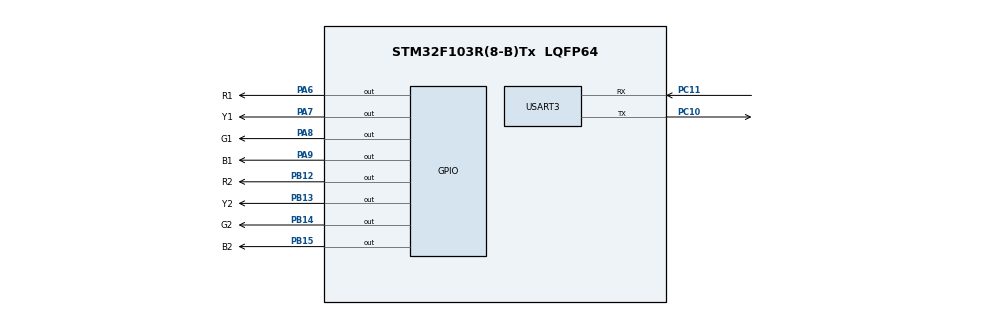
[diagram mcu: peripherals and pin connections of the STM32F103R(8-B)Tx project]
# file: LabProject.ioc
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FREERTOS.Queues01=Command_Queue,1,uint16_t,0,Dynamic,NULL,NULL;Message_Queue,1,uint16_t,0,Dynamic,NULL,NULL
FREERTOS.Tasks01=StateController,32,128,StartStateController,Default,NULL,Dynamic,NULL,NULL;RX_CLI,24,128,StartRX_CLI,Default,NULL,Dynamic,NULL,NULL;StatusUpdate,24,128,StartStatusUpdate,Default,NULL,Dynamic,NULL,NULL
Mcu.Family=STM32F1
Mcu.Name=STM32F103R(8-B)Tx
Mcu.Package=LQFP64
NVIC.PriorityGroup=NVIC_PRIORITYGROUP_4
NVIC.TIM4_IRQn=true\:0\:0\:false\:false\:true\:false\:false\:true
NVIC.TimeBase=TIM4_IRQn
NVIC.TimeBaseIP=TIM4
PA13.Mode=Serial_Wire
PA13.Signal=SYS_JTMS-SWDIO
PA14.Mode=Serial_Wire
PA14.Signal=SYS_JTCK-SWCLK
PA6.GPIO_Label=R1
PA6.PinState=GPIO_PIN_SET
PA6.Signal=GPIO_Output
PA7.GPIO_Label=Y1
PA7.PinState=GPIO_PIN_SET
PA7.Signal=GPIO_Output
PA8.GPIO_Label=G1
PA8.PinState=GPIO_PIN_SET
PA8.Signal=GPIO_Output
PA9.GPIO_Label=B1
PA9.PinState=GPIO_PIN_SET
PA9.Signal=GPIO_Output
PB12.GPIO_Label=R2
PB12.PinState=GPIO_PIN_SET
PB12.Signal=GPIO_Output
PB13.GPIO_Label=Y2
PB13.PinState=GPIO_PIN_SET
PB13.Signal=GPIO_Output
PB14.GPIO_Label=G2
PB14.PinState=GPIO_PIN_SET
PB14.Signal=GPIO_Output
PB15.GPIO_Label=B2
PB15.PinState=GPIO_PIN_SET
PB15.Signal=GPIO_Output
PC10.Mode=Asynchronous
PC10.Signal=USART3_TX
PC11.Mode=Asynchronous
PC11.Signal=USART3_RX
ProjectManager.HeapSize=0x200
ProjectManager.StackSize=0x400
ProjectManager.TargetToolchain=STM32CubeIDE
RCC.APB1Freq_Value=8000000
RCC.APB2Freq_Value=8000000
USART3.VirtualMode=VM_ASYNC
VP_FREERTOS_VS_CMSIS_V2.Mode=CMSIS_V2
VP_SYS_VS_tim4.Mode=TIM4
board=custom

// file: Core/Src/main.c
/* USER CODE BEGIN Header */
/**
  ******************************************************************************
  * @file           : main.c
  * @brief          : Main program body
  ******************************************************************************
  * @attention
  *
  * <h2><center>&copy; Copyright (c) 2020 STMicroelectronics.
  * All rights reserved.</center></h2>
  *
  * This software component is licensed by ST under Ultimate Liberty license
  * SLA0044, the "License"; You may not use this file except in compliance with
  * the License. You may obtain a copy of the License at:
  *                             www.st.com/SLA0044
  *
  ******************************************************************************
  */
/* USER CODE END Header */
#include "main.h"
#include "cmsis_os.h"

/* USER CODE BEGIN Includes */
#include "CLI.h"
#include "TrafficLight.h"
#include <stdlib.h>

/* USER CODE END Includes */

UART_HandleTypeDef huart3;

/* Definitions for StateController */
osThreadId_t StateControllerHandle;
const osThreadAttr_t StateController_attributes = {
  .name = "StateController",
  .priority = (osPriority_t) osPriorityAboveNormal,
  .stack_size = 128 * 4
};
/* Definitions for RX_CLI */
osThreadId_t RX_CLIHandle;
const osThreadAttr_t RX_CLI_attributes = {
  .name = "RX_CLI",
  .priority = (osPriority_t) osPriorityNormal,
  .stack_size = 128 * 4
};
/* Definitions for StatusUpdate */
osThreadId_t StatusUpdateHandle;
const osThreadAttr_t StatusUpdate_attributes = {
  .name = "StatusUpdate",
  .priority = (osPriority_t) osPriorityNormal,
  .stack_size = 128 * 4
};
/* Definitions for Command_Queue */
osMessageQueueId_t Command_QueueHandle;
const osMessageQueueAttr_t Command_Queue_attributes = {
  .name = "Command_Queue"
};
/* Definitions for Message_Queue */
osMessageQueueId_t Message_QueueHandle;
const osMessageQueueAttr_t Message_Queue_attributes = {
  .name = "Message_Queue"
};
/* USER CODE BEGIN PV */

uint8_t cliBufferRX[10];
uint8_t save[100];

const char *CLEAR_SCREEN = "\x1b[2J";
const char *SCROLL_WINDOW = "\x1b[10;r";
const char *GO_TO_SCROLL = "\x1b[10;0H";
const char *GO_TO_TOP = "\x1b[0;0H";
const char *GO_TO_COUNT = "\x1b[0;7H";
const char *HIDE_CURS = "\x1b[?25l";
const char *SHOW_CURS = "\x1b[?25h";
const char *SAVE_CURS = "\x1b[s";
const char *RETURN_CURS = "\x1b[u";

/* USER CODE END PV */

void SystemClock_Config(void);
static void MX_GPIO_Init(void);
static void MX_USART3_UART_Init(void);
void StartStateController(void *argument);
void StartRX_CLI(void *argument);
void StartStatusUpdate(void *argument);

int main(void)
{

  /* MCU Configuration--------------------------------------------------------*/

  /* Reset of all peripherals, Initializes the Flash interface and the Systick. */
  HAL_Init();

  /* Configure the system clock */
  SystemClock_Config();

  /* Initialize all configured peripherals */
  MX_GPIO_Init();
  MX_USART3_UART_Init();
  /* USER CODE BEGIN 2 */
  printString(CLEAR_SCREEN);
  printString(GO_TO_TOP);
  printString("Welcome to the ItC!\r\n");
  printString("Created by Daniel Takyi.\r\n");
  HAL_Delay(2000);

  //Formats the screen to show counter and create a scroll window
  printString(CLEAR_SCREEN);
  printString(GO_TO_TOP);
  printString("Mode: ");
  printString("Failsafe");
  printString("\x1b[9;0H");
  printString("Enter \"help\" for a list of commands");
  printString(SCROLL_WINDOW);
  printString(GO_TO_SCROLL);

  printString("\n~>$ ");
  printString(SAVE_CURS);
  /* USER CODE END 2 */

  /* Init scheduler */
  osKernelInitialize();

  /* Create the queue(s) */
  /* creation of Command_Queue */
  Command_QueueHandle = osMessageQueueNew (1, sizeof(uint16_t), &Command_Queue_attributes);

  /* creation of Message_Queue */
  Message_QueueHandle = osMessageQueueNew (1, sizeof(uint16_t), &Message_Queue_attributes);

  /* Create the thread(s) */
  /* creation of StateController */
  StateControllerHandle = osThreadNew(StartStateController, NULL, &StateController_attributes);

  /* creation of RX_CLI */
  RX_CLIHandle = osThreadNew(StartRX_CLI, NULL, &RX_CLI_attributes);

  /* creation of StatusUpdate */
  StatusUpdateHandle = osThreadNew(StartStatusUpdate, NULL, &StatusUpdate_attributes);

  /* Start scheduler */
  osKernelStart();

  /* We should never get here as control is now taken by the scheduler */
  /* Infinite loop */
  while (1)
  {

  }
}

void SystemClock_Config(void)
{
  RCC_OscInitTypeDef RCC_OscInitStruct = {0};
  RCC_ClkInitTypeDef RCC_ClkInitStruct = {0};

  /** Initializes the RCC Oscillators according to the specified parameters
  * in the RCC_OscInitTypeDef structure.
  */
  RCC_OscInitStruct.OscillatorType = RCC_OSCILLATORTYPE_HSI;
  RCC_OscInitStruct.HSIState = RCC_HSI_ON;
  RCC_OscInitStruct.HSICalibrationValue = RCC_HSICALIBRATION_DEFAULT;
  RCC_OscInitStruct.PLL.PLLState = RCC_PLL_NONE;
  if (HAL_RCC_OscConfig(&RCC_OscInitStruct) != HAL_OK)
  {
    Error_Handler();
  }
  /** Initializes the CPU, AHB and APB buses clocks
  */
  RCC_ClkInitStruct.ClockType = RCC_CLOCKTYPE_HCLK|RCC_CLOCKTYPE_SYSCLK
                              |RCC_CLOCKTYPE_PCLK1|RCC_CLOCKTYPE_PCLK2;
  RCC_ClkInitStruct.SYSCLKSource = RCC_SYSCLKSOURCE_HSI;
  RCC_ClkInitStruct.AHBCLKDivider = RCC_SYSCLK_DIV1;
  RCC_ClkInitStruct.APB1CLKDivider = RCC_HCLK_DIV1;
  RCC_ClkInitStruct.APB2CLKDivider = RCC_HCLK_DIV1;

  if (HAL_RCC_ClockConfig(&RCC_ClkInitStruct, FLASH_LATENCY_0) != HAL_OK)
  {
    Error_Handler();
  }
}

static void MX_USART3_UART_Init(void)
{

  huart3.Instance = USART3;
  huart3.Init.BaudRate = 115200;
  huart3.Init.WordLength = UART_WORDLENGTH_8B;
  huart3.Init.StopBits = UART_STOPBITS_1;
  huart3.Init.Parity = UART_PARITY_NONE;
  huart3.Init.Mode = UART_MODE_TX_RX;
  huart3.Init.HwFlowCtl = UART_HWCONTROL_NONE;
  huart3.Init.OverSampling = UART_OVERSAMPLING_16;
  if (HAL_UART_Init(&huart3) != HAL_OK)
  {
    Error_Handler();
  }

}

static void MX_GPIO_Init(void)
{
  GPIO_InitTypeDef GPIO_InitStruct = {0};

  /* GPIO Ports Clock Enable */
  __HAL_RCC_GPIOA_CLK_ENABLE();
  __HAL_RCC_GPIOB_CLK_ENABLE();
  __HAL_RCC_GPIOC_CLK_ENABLE();

  /*Configure GPIO pin Output Level */
  HAL_GPIO_WritePin(GPIOA, R1_Pin|Y1_Pin|G1_Pin|B1_Pin, GPIO_PIN_SET);

  /*Configure GPIO pin Output Level */
  HAL_GPIO_WritePin(GPIOB, R2_Pin|Y2_Pin|G2_Pin|B2_Pin, GPIO_PIN_SET);

  /*Configure GPIO pins : R1_Pin Y1_Pin G1_Pin B1_Pin */
  GPIO_InitStruct.Pin = R1_Pin|Y1_Pin|G1_Pin|B1_Pin;
  GPIO_InitStruct.Mode = GPIO_MODE_OUTPUT_PP;
  GPIO_InitStruct.Pull = GPIO_NOPULL;
  GPIO_InitStruct.Speed = GPIO_SPEED_FREQ_LOW;
  HAL_GPIO_Init(GPIOA, &GPIO_InitStruct);

  /*Configure GPIO pins : R2_Pin Y2_Pin G2_Pin B2_Pin */
  GPIO_InitStruct.Pin = R2_Pin|Y2_Pin|G2_Pin|B2_Pin;
  GPIO_InitStruct.Mode = GPIO_MODE_OUTPUT_PP;
  GPIO_InitStruct.Pull = GPIO_NOPULL;
  GPIO_InitStruct.Speed = GPIO_SPEED_FREQ_LOW;
  HAL_GPIO_Init(GPIOB, &GPIO_InitStruct);

}

void StartStateController(void *argument)
{
  /* USER CODE BEGIN 5 */
	char state = 'x';
	uint16_t cmd = 101;
	uint16_t msg = cmd;
	int period = 400;
	int speedFactor = 1;
	/* Infinite loop */
	for(;;)
	{

		if(osMessageQueueGet(Command_QueueHandle, &cmd, NULL, 0U) == osOK)
		{
			if(cmd != msg && cmd > 100)
			{
				if(cmd == 101)
				{
					state = 'x';
				}
				else if(cmd == 102)
				{
					state = 'a';
				}
				msg = cmd;
			}
			else if(cmd != msg && cmd > 0)
			{
				speedFactor = cmd;
			}
		}

		if(osMessageQueuePut(Message_QueueHandle, &msg, 1U, 0U)!= osOK)
		{
			Error_Handler();
		}
		period = periodState(state, speedFactor);
		state = lightState(state);

		osDelay(period);
	}
	osThreadTerminate(NULL);
  /* USER CODE END 5 */
}

void StartRX_CLI(void *argument)
{
  /* USER CODE BEGIN StartRX_CLI */
	int j = 0;
	uint16_t cmd = 0;
	char* cmdStr;
	char* arg;
	uint8_t temp[100];
  /* Infinite loop */
	for(;;)
	{
		if(HAL_UART_Receive(&huart3, cliBufferRX, 1, 300) == HAL_OK)
		{
			printString(RETURN_CURS);
			printString(SHOW_CURS);

			copyCharTo((char *)cliBufferRX, (char *)save, j);
			printString(SAVE_CURS);
			//backspace incidence
			if(cliBufferRX[0] == '\b')
			{
				j--;
			}
			else
			{
				j++;
			}

			//when enter is hit execute the command
			if(isCompleteLine((char *)cliBufferRX))
			{
				printString("\r\n");
				save[j-1] = '\0';
				while(j < 100 && save[j] != '\0')
				{
					save[j] = '\0';
					j++;
				}

				strcpy((char *)temp, (const char *)save);
				arg = strtok((char *)save, " ");
				cmdStr = arg;
				arg = strtok(NULL, " ");

				if(arg == NULL && strcmp((char *)cmdStr, "help") == 0)
				{
					cmd = 103;
					printString("1. \"mode fsm\" switches controller to Failsafe mode\r\n");
					printString("\n2. \"mode scm\" switches controller to Static Cycle mode\r\n");
					printString("\n3. \"atm x\" enters accelerated test mode with multiplication factor x, when 0 < x < 101\r\n");
					printString("\n4. \"clear\" clears the scroll screen of its command history and brings the cursor back to the top\r\n");
				}
				else if(arg == NULL && strcmp((char *)cmdStr, "clear") == 0)
				{
					cmd = 104;
					printString(CLEAR_SCREEN);
					printString(GO_TO_TOP);
					printString("Mode: ");
					printString("\x1b[9;0H");
					printString("Enter \"help\" for a list of commands");
					printString(SCROLL_WINDOW);
					printString(GO_TO_SCROLL);
					if(osMessageQueuePut(Command_QueueHandle, &cmd, 1U, 0U)!= osOK)
					{
						Error_Handler();
					}
				}
				else if(cmdStr == NULL)
				{
					cmd = 103;
				}
				else if(strtok(NULL, " ") == NULL)
				{
					if(atoi(arg) >= 1 && atoi(arg) <= 100 && strcmp((char *)cmdStr, "atm") == 0)
					{
						cmd = (uint16_t)atoi(arg);
						printString("Entering accelerated test mode.\r\n");
						if(osMessageQueuePut(Command_QueueHandle, &cmd, 1U, 0U)!= osOK)
						{
							Error_Handler();
						}
					}
					else if(strcmp((char *)cmdStr, "mode") == 0 && strcmp((char *)arg, "fsm") == 0)
					{
						cmd = 101;
						printString("Switching to Failsafe mode.\r\n");
						if(osMessageQueuePut(Command_QueueHandle, &cmd, 1U, 0U)!= osOK)
						{
							Error_Handler();
						}
					}
					else if(strcmp((char *)cmdStr, "mode") == 0 && strcmp((char *)arg, "scm") == 0)
					{
						cmd = 102;
						printString("Switching to Static Cycle mode.\r\n");
						if(osMessageQueuePut(Command_QueueHandle, &cmd, 1U, 0U)!= osOK)
						{
							Error_Handler();
						}
					}
					else
					{
						cmd = 103;
						printString("Invalid command: ");
						printString((char *)temp);
						printString("\r\n");
					}
				}
				else
				{
					cmd = 103;
					printString("Invalid command: ");
					printString((char *)temp);
					printString("\r\n");
				}

				j = 0;
				for(int i = 0; i < 20; i++)
				{
					save[i] = '\0';
				}
				printString("\r\n~>$ ");

				printString(SAVE_CURS);
				osDelay(10);
			}
		}
	}
	osThreadTerminate(NULL);
  /* USER CODE END StartRX_CLI */
}

void StartStatusUpdate(void *argument)
{
  /* USER CODE BEGIN StartStatusUpdate */
	uint16_t msg = 101;
	uint16_t mode = msg;
  /* Infinite loop */
	for(;;)
	{
		if(osMessageQueueGet(Message_QueueHandle, &msg, NULL, 0U) == osOK)
		{
			if(msg != mode)
			{
				if(msg == 104)
				{
					msg = mode;
				}
				printString(HIDE_CURS);
				printString(GO_TO_COUNT);
				printString("                           ");
				printString(GO_TO_COUNT);
				if(msg == 102)
				{
					printString("Static cycle mode");
				}
				else
				{
					printString("Failsafe mode");
				}
				mode = msg;
			}

		}

		osDelay(10);
	}
	osThreadTerminate(NULL);
  /* USER CODE END StartStatusUpdate */
}

void HAL_TIM_PeriodElapsedCallback(TIM_HandleTypeDef *htim)
{
  if (htim->Instance == TIM4) {
    HAL_IncTick();
  }
}

void Error_Handler(void)
{
}

/************************ (C) COPYRIGHT STMicroelectronics *****END OF FILE****/
